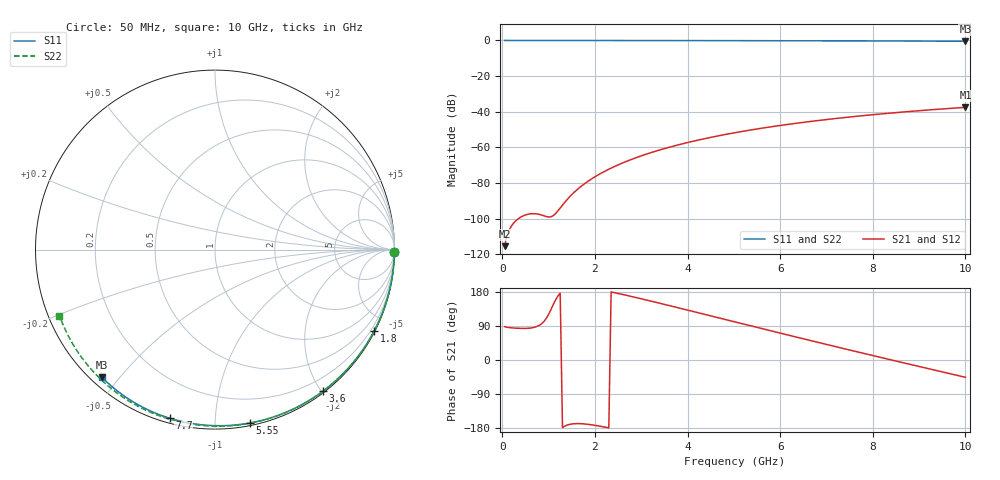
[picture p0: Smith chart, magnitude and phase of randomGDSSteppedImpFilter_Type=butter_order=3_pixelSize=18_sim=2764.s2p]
! freq	dB(S11)	phase(S11)	dB(S12)	phase(S12)
!  dB(S21)	phase(S21)	dB(S22)	phase(S22)
!S-par simulation data
#  GHz  S  DB  R 50
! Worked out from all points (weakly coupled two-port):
!   200 points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, 50 MHz to 10 GHz, reference 50 ohm
!   highest |S21| = -37.56 dB at 10 GHz (marker M1); lowest = -115.5 dB at 50 MHz (marker M2)
!   lowest |S11| = -0.4 dB at 10 GHz (marker M3), VSWR 39.33, Z = 1.53 - j22.5 ohm
!   |S11| at or under -10 dB: nowhere
!   |S22| runs from -0.5 to 0.0 dB; largest |S21 - S12| = 0
!   S11 on the Smith chart (normalised r, x): 50 MHz: open; 1.8 GHz: 0.04, -4.17; 3.6 GHz: 0.02, -2.02; 5.55 GHz: 0.02, -1.22; 7.7 GHz: 0.02, -0.77; 10 GHz: 0.03, -0.45
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0.05  -0.00 -0.8  -115.51 88.0  -115.51 88.0  -0.00 -0.9
0.45  -0.01 -6.8  -98.49 83.3  -98.49 83.3  -0.01 -8.2
0.9  -0.02 -13.6  -98.46 101.7  -98.46 101.7  -0.02 -16.3
1.3  -0.02 -19.6  -92.41 -178.3  -92.41 -178.3  -0.03 -23.4
1.75  -0.03 -26.2  -80.95 -168.5  -80.95 -168.5  -0.04 -31.3
1.8  -0.03 -26.9  -79.99 -169.1  -79.99 -169.1  -0.04 -32.2
1.95  -0.04 -29.1  -77.37 -171.4  -77.37 -171.4  -0.04 -34.8
2.1  -0.04 -31.3  -75.04 -174.5  -75.04 -174.5  -0.05 -37.4
2.3  -0.04 -34.2  -72.30 -179.2  -72.30 -179.2  -0.05 -40.8
2.5  -0.05 -37.1  -69.87 175.6  -69.87 175.6  -0.06 -44.3
2.9  -0.06 -42.9  -65.72 164.5  -65.72 164.5  -0.07 -51.1
3.4  -0.07 -49.9  -61.48 149.8  -61.48 149.8  -0.08 -59.4
3.6  -0.07 -52.7  -59.99 143.8  -59.99 143.8  -0.08 -62.7
4.3  -0.09 -62.3  -55.53 122.6  -55.53 122.6  -0.11 -73.9
5.05  -0.11 -72.2  -51.67 99.7  -51.67 99.7  -0.13 -85.6
5.55  -0.13 -78.7  -49.48 84.5  -49.48 84.5  -0.15 -93.2
6.1  -0.15 -85.7  -47.36 67.9  -47.36 67.9  -0.18 -101.4
6.7  -0.18 -93.1  -45.33 50.0  -45.33 50.0  -0.21 -110.1
7.7  -0.24 -105.1  -42.45 20.5  -42.45 20.5  -0.29 -124.4
8.35  -0.29 -112.7  -40.85 1.6  -40.85 1.6  -0.34 -133.6
9.2  -0.36 -122.4  -39.03 -22.8  -39.03 -22.8  -0.43 -145.6
10  -0.44 -131.5  -37.56 -45.6  -37.56 -45.6  -0.52 -157.0
